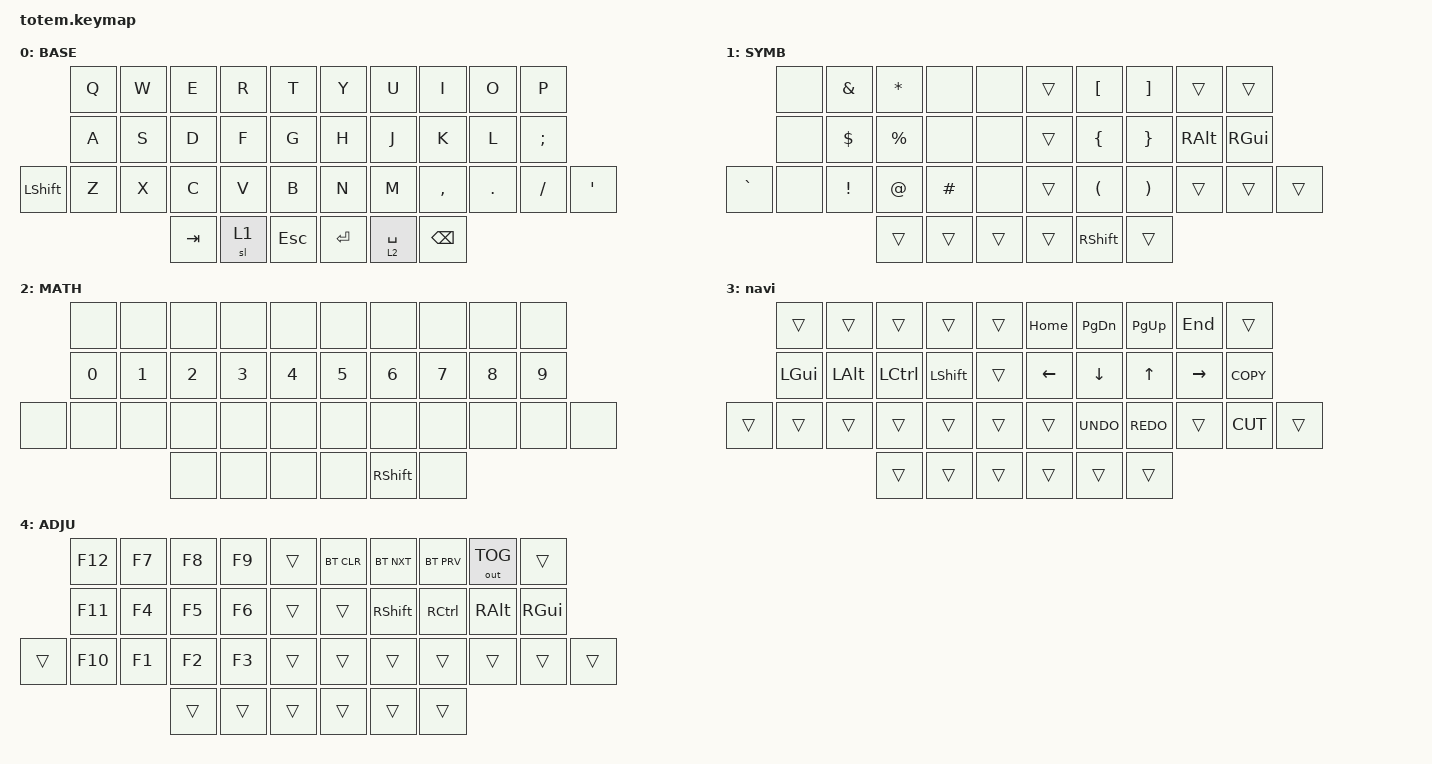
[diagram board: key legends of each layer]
//
//                                                        ▀▀▀▀▀     ▀▀▀▀▀          ▀▀█▀▀
//                                                        ▄▀▀▀▄  ▄  ▄▀▀▀▄  ▄  ▄▀▀▀▄  █  ▄▀▀▀▄
//                                                        █   █  █  █   █  █  █   █  █  █   █
//                                                         ▀▀▀   █   ▀▀▀   █   ▀▀▀   ▀   ▀▀▀
//                                                               █      ▄▄▄█▄▄▄    █   █  
//                                                               ▀      █  █  █     █▄█
//                                                             ▀▀▀▀▀    █  █  █      ▀
//                                                                      ▀  ▀  ▀
//
// ▄▄▄▄▄▄▄▄▄▄▄▄▄▄▄▄▄▄▄▄▄▄▄▄▄▄▄▄▄▄▄▄▄▄▄▄▄▄▄▄▄▄▄▄▄▄▄▄▄▄▄▄▄▄▄▄▄▄▄▄▄▄▄▄▄▄▄▄▄▄▄▄▄▄▄▄▄▄▄▄▄▄▄▄▄▄▄▄▄▄▄▄▄▄▄▄▄▄▄▄▄▄▄▄▄▄▄▄▄▄▄▄▄▄▄▄▄▄▄▄▄▄▄▄▄▄▄▄▄▄▄▄▄▄▄▄▄▄▄▄▄▄▄▄▄▄▄▄▄

#define BASE 0
#define MATH 1
#define SYMB 2
#define ADJU  3

#include <behaviors.dtsi>
#include <dt-bindings/zmk/bt.h>
#include <dt-bindings/zmk/keys.h>
#include <dt-bindings/zmk/outputs.h>

/ {
    combos {
        compatible = "zmk,combos";

        combo_esc {
            timeout-ms = <50>;
            key-positions = <0 1>;
            bindings = <&kp ESC>;
        };
    };

    behaviors {
        ss_hs_modmorph: ss_hs_modmorph {
            compatible = "zmk,behavior-mod-morph";
            label = "SS_HS_MODMORPH";
            bindings = <&kp M>, <&kp RIGHT_BRACKET>;

            #binding-cells = <0>;
            mods = <(MOD_LSFT|MOD_RSFT)>;
        };

        kh_hs_tapdance: kh_hs_tapdance {
            compatible = "zmk,behavior-tap-dance";
            label = "KH_HS_TAPDANCE";
            #binding-cells = <0>;
            tapping-term-ms = <200>;
            bindings = <&kp LEFT_BRACKET>, <&kp RIGHT_BRACKET>;
        };

        hrm: hrm {
            compatible = "zmk,behavior-hold-tap";
            #binding-cells = <2>;
            flavor = "tap-preferred";
            tapping-term-ms = <200>;
            quick-tap-ms = <200>;
            require-prior-idle-ms = <125>;
            bindings = <&kp>, <&kp>;
        };
    };

    keymap {
        compatible = "zmk,keymap";

        base {
            label = "BASE";
            bindings = <
                &kp Q  &kp W  &kp E    &kp R  &kp T         &kp Y      &kp U        &kp I          &kp O    &kp P
                &kp A  &kp S  &kp D    &kp F  &kp G         &kp H      &kp J        &kp K          &kp L    &kp SEMICOLON
&kp LEFT_SHIFT  &kp Z  &kp X  &kp C    &kp V  &kp B         &kp N      &kp M        &kp COMMA      &kp DOT  &kp FSLH       &kp SQT
                              &kp TAB  &sl 1  &kp ESCAPE    &kp ENTER  &lt 2 SPACE  &kp BACKSPACE
            >;
        };

        symb {
            label = "SYMB";
            bindings = <
           &none  &kp AMPERSAND    &kp ASTRK    &none     &none     &trans  &kp LEFT_BRACKET      &kp RIGHT_BRACKET      &trans    &trans
           &none  &kp DOLLAR       &kp PERCENT  &none     &none     &trans  &kp LEFT_BRACE        &kp RIGHT_BRACE        &kp RALT  &kp RGUI
&kp GRAVE  &none  &kp EXCLAMATION  &kp AT_SIGN  &kp HASH  &none     &trans  &kp LEFT_PARENTHESIS  &kp RIGHT_PARENTHESIS  &trans    &trans    &trans
                                   &trans       &trans    &trans    &trans  &kp RIGHT_SHIFT       &trans
            >;
        };

        math {
            label = "MATH";
            bindings = <
       &none   &none         &none         &none         &none           &none   &none            &none   &none   &none
       &kp N0  &kp NUMBER_1  &kp NUMBER_2  &kp NUMBER_3  &kp NUMBER_4    &kp N5  &kp NUMBER_6     &kp N7  &kp N8  &kp N9
&none  &none   &none         &none         &none         &none           &none   &none            &none   &none   &none   &none
                             &none         &none         &none           &none   &kp RIGHT_SHIFT  &none
            >;
        };

        navi {
            bindings = <
        &trans    &trans    &trans     &trans          &trans    &kp HOME  &kp PAGE_DOWN  &kp PG_UP   &kp END    &trans
        &kp LGUI  &kp LALT  &kp LCTRL  &kp LEFT_SHIFT  &trans    &kp LEFT  &kp DOWN       &kp UP      &kp RIGHT  &kp K_COPY
&trans  &trans    &trans    &trans     &trans          &trans    &trans    &kp K_UNDO     &kp K_REDO  &trans     &kp K_CUT   &trans
                            &trans     &trans          &trans    &trans    &trans         &trans
            >;
        };

        func {
            label = "ADJU";
            bindings = <
        &kp F12  &kp F7  &kp F8  &kp F9  &trans    &bt BT_CLR  &bt BT_NXT  &bt BT_PRV  &out OUT_TOG  &trans
        &kp F11  &kp F4  &kp F5  &kp F6  &trans    &trans      &kp RSHIFT  &kp RCTRL   &kp RALT      &kp RGUI
&trans  &kp F10  &kp F1  &kp F2  &kp F3  &trans    &trans      &trans      &trans      &trans        &trans    &trans
                         &trans  &trans  &trans    &trans      &trans      &trans
            >;
        };
    };
};
